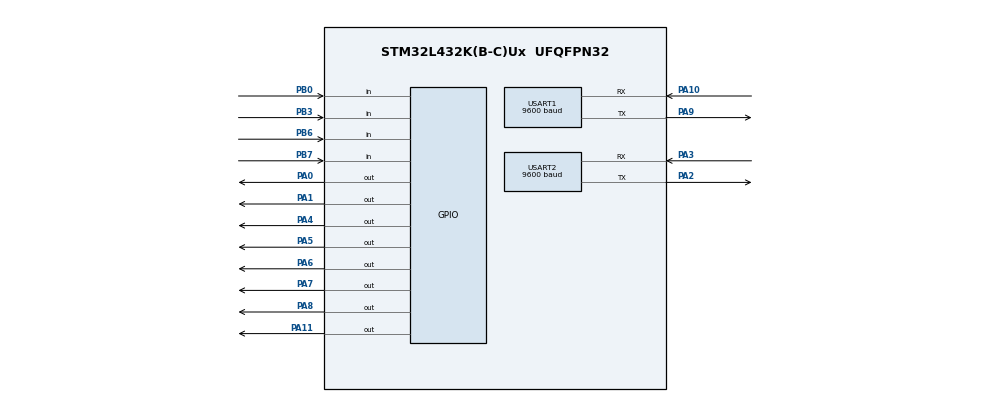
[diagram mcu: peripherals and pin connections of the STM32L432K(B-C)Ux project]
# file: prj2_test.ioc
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Mcu.Family=STM32L4
Mcu.Name=STM32L432K(B-C)Ux
Mcu.Package=UFQFPN32
NVIC.PriorityGroup=NVIC_PRIORITYGROUP_4
NVIC.USART1_IRQn=true\:0\:0\:false\:false\:true\:true
PA0.Signal=GPIO_Output
PA1.Signal=GPIO_Output
PA10.Mode=Asynchronous
PA10.Signal=USART1_RX
PA11.Signal=GPIO_Output
PA13\ (JTMS-SWDIO).Mode=Serial_Wire
PA13\ (JTMS-SWDIO).Signal=SYS_JTMS-SWDIO
PA14\ (JTCK-SWCLK).Mode=Serial_Wire
PA14\ (JTCK-SWCLK).Signal=SYS_JTCK-SWCLK
PA2.Mode=Asynchronous
PA2.Signal=USART2_TX
PA3.Mode=Asynchronous
PA3.Signal=USART2_RX
PA4.Signal=GPIO_Output
PA5.Signal=GPIO_Output
PA6.Signal=GPIO_Output
PA7.Signal=GPIO_Output
PA8.Signal=GPIO_Output
PA9.Mode=Asynchronous
PA9.Signal=USART1_TX
PB0.Signal=GPIO_Input
PB3\ (JTDO-TRACESWO).Signal=GPIO_Input
PB6.Signal=GPIO_Input
PB7.Signal=GPIO_Input
PC14-OSC32_IN\ (PC14).Mode=LSE-External-Oscillator
PC14-OSC32_IN\ (PC14).Signal=RCC_OSC32_IN
PC15-OSC32_OUT\ (PC15).Mode=LSE-External-Oscillator
PC15-OSC32_OUT\ (PC15).Signal=RCC_OSC32_OUT
ProjectManager.HeapSize=0x200
ProjectManager.StackSize=0x400
ProjectManager.TargetToolchain=MDK-ARM V5
RCC.HSE_VALUE=8000000
RCC.HSI48_VALUE=48000000
RCC.HSI_VALUE=16000000
RCC.MSI_VALUE=4000000
RCC.VCOOutputFreq_Value=32000000
USART1.BaudRate=9600
USART1.VirtualMode-Asynchronous=VM_ASYNC
USART2.BaudRate=9600
USART2.VirtualMode-Asynchronous=VM_ASYNC
board=custom

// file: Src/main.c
/* USER CODE BEGIN Header */
/**
  ******************************************************************************
  * @file           : main.c
  * @brief          : Main program body
  ******************************************************************************
  ** This notice applies to any and all portions of this file
  * that are not between comment pairs USER CODE BEGIN and
  * USER CODE END. Other portions of this file, whether
  * inserted by the user or by software development tools
  * are owned by their respective copyright owners.
  *
  * COPYRIGHT(c) 2021 STMicroelectronics
  *
  * Redistribution and use in source and binary forms, with or without modification,
  * are permitted provided that the following conditions are met:
  *   1. Redistributions of source code must retain the above copyright notice,
  *      this list of conditions and the following disclaimer.
  *   2. Redistributions in binary form must reproduce the above copyright notice,
  *      this list of conditions and the following disclaimer in the documentation
  *      and/or other materials provided with the distribution.
  *   3. Neither the name of STMicroelectronics nor the names of its contributors
  *      may be used to endorse or promote products derived from this software
  *      without specific prior written permission.
  *
  * THIS SOFTWARE IS PROVIDED BY THE COPYRIGHT HOLDERS AND CONTRIBUTORS "AS IS"
  * AND ANY EXPRESS OR IMPLIED WARRANTIES, INCLUDING, BUT NOT LIMITED TO, THE
  * IMPLIED WARRANTIES OF MERCHANTABILITY AND FITNESS FOR A PARTICULAR PURPOSE ARE
  * DISCLAIMED. IN NO EVENT SHALL THE COPYRIGHT HOLDER OR CONTRIBUTORS BE LIABLE
  * FOR ANY DIRECT, INDIRECT, INCIDENTAL, SPECIAL, EXEMPLARY, OR CONSEQUENTIAL
  * DAMAGES (INCLUDING, BUT NOT LIMITED TO, PROCUREMENT OF SUBSTITUTE GOODS OR
  * SERVICES; LOSS OF USE, DATA, OR PROFITS; OR BUSINESS INTERRUPTION) HOWEVER
  * CAUSED AND ON ANY THEORY OF LIABILITY, WHETHER IN CONTRACT, STRICT LIABILITY,
  * OR TORT (INCLUDING NEGLIGENCE OR OTHERWISE) ARISING IN ANY WAY OUT OF THE USE
  * OF THIS SOFTWARE, EVEN IF ADVISED OF THE POSSIBILITY OF SUCH DAMAGE.
  *
  ******************************************************************************
  */
/* USER CODE END Header */

#include "main.h"

/* USER CODE BEGIN Includes */
#include "MY_Keypad4x4.h"
#include "lcd16x2.h"
#include <stdbool.h>
/* USER CODE END Includes */

UART_HandleTypeDef huart1;
UART_HandleTypeDef huart2;

/* USER CODE BEGIN PV */
uint8_t enter_threshold_msg[26] = {'E', 'n', 't', 'e', 'r', ' ', '#', 'L', 'E', 'D', 's', ' ', 't' , 'h', 'e', 'n', ' ', '#', 'P', 'e', 'o', 'p', 'l', 'e','\n', '\r'};
uint8_t enter_limit_msg[15] = {'E', 'n', 't', 'e', 'r', ' ', '#', 'P', 'e', 'o', 'p', 'l', 'e', '\n', '\r'};
uint8_t done_msg[17] = {'U', 's', 'e', 'r', ' ', 'I', 'n', 'p', 'u', 't', ' ', 'd', 'o' , 'n', 'e', '\n', '\r'};
uint8_t newline[2] = {'\n', '\r'};
uint8_t threshold;
/* USER CODE END PV */

void SystemClock_Config(void);
static void MX_GPIO_Init(void);
static void MX_USART1_UART_Init(void);
static void MX_USART2_UART_Init(void);

/* USER CODE BEGIN 0 */
bool mySwitches[16];
/* USER CODE END 0 */

int main(void)
{
  /* USER CODE BEGIN 1 */
	Keypad_WiresTypeDef myKeypadStruct;
  /* USER CODE END 1 */

  /* MCU Configuration--------------------------------------------------------*/

  /* Reset of all peripherals, Initializes the Flash interface and the Systick. */
  HAL_Init();

  /* Configure the system clock */
  SystemClock_Config();

  /* Initialize all configured peripherals */
  MX_GPIO_Init();
  MX_USART1_UART_Init();
  MX_USART2_UART_Init();
  /* USER CODE BEGIN 2 */

	myKeypadStruct.IN0_Port = GPIOB;
	myKeypadStruct.IN1_Port = GPIOB;
	myKeypadStruct.IN2_Port = GPIOB;
	myKeypadStruct.IN3_Port = GPIOB;

	myKeypadStruct.OUT0_Port = GPIOA;
	myKeypadStruct.OUT1_Port = GPIOA;
	myKeypadStruct.OUT2_Port = GPIOA;
	myKeypadStruct.OUT3_Port = GPIOA;

	myKeypadStruct.IN0pin = GPIO_PIN_3;
	myKeypadStruct.IN1pin = GPIO_PIN_0;
	myKeypadStruct.IN2pin = GPIO_PIN_6;
	myKeypadStruct.IN3pin = GPIO_PIN_7;

	myKeypadStruct.OUT0pin = GPIO_PIN_5;
	myKeypadStruct.OUT1pin = GPIO_PIN_6;
	myKeypadStruct.OUT2pin = GPIO_PIN_7;
	myKeypadStruct.OUT3pin = GPIO_PIN_4;

	Keypad4x4_Init(&myKeypadStruct);

	int bulbsInputted = 0;
	int limitInputted = 0;
	int inputCount = 0;

	lcd16x2_init_4bits(GPIOB, GPIO_PIN_4, GPIO_PIN_5,
	GPIOA, GPIO_PIN_8, GPIO_PIN_11, GPIO_PIN_0, GPIO_PIN_1);

	HAL_UART_Transmit(&huart2, enter_threshold_msg, sizeof(enter_threshold_msg), HAL_MAX_DELAY);
  /* USER CODE END 2 */

  /* Infinite loop */
  while (1)
  {

    /* USER CODE BEGIN 3 */

//		if (inputCount == 1) {
//			HAL_UART_Transmit(&huart2, newline, sizeof(newline), HAL_MAX_DELAY);
//			HAL_UART_Transmit(&huart2, enter_limit_msg, sizeof(enter_limit_msg), HAL_MAX_DELAY);
////			HAL_Delay(3000);
//		} else
		if (inputCount == 3) {
			HAL_UART_Transmit(&huart2, newline, sizeof(newline), HAL_MAX_DELAY);
			HAL_UART_Transmit(&huart2, done_msg, sizeof(done_msg), HAL_MAX_DELAY);
			HAL_UART_Transmit(&huart2, newline, sizeof(newline), HAL_MAX_DELAY);
			HAL_Delay(3000);
		}
		// stop receiving over keypad!

		lcd16x2_printf("Pressed Key: ");
		lcd16x2_setCursor(2,1);

		int i=0;
		for (i=0; i<16; i++) {
			if (mySwitches[i]) {
				switch (i) {
					case 0: threshold = '1';
//					HAL_UART_Transmit(&huart1, &threshold, sizeof(threshold), HAL_MAX_DELAY);
					HAL_UART_Transmit(&huart2, &threshold, sizeof(threshold), HAL_MAX_DELAY);
					lcd16x2_printf("1");
					inputCount = inputCount + 1;
					break;
					case 1: threshold = '2';
//					HAL_UART_Transmit(&huart1, &threshold, sizeof(threshold), HAL_MAX_DELAY);
					HAL_UART_Transmit(&huart2, &threshold, sizeof(threshold), HAL_MAX_DELAY);
					lcd16x2_printf("2");
					inputCount = inputCount + 1;
					break;
					case 2: threshold = '3';
//					HAL_UART_Transmit(&huart1, &threshold, sizeof(threshold), HAL_MAX_DELAY);
					HAL_UART_Transmit(&huart2, &threshold, sizeof(threshold), HAL_MAX_DELAY);
					lcd16x2_printf("3");
					inputCount = inputCount + 1;
					break;
					case 3: threshold = 'A';
//					HAL_UART_Transmit(&huart1, &threshold, sizeof(threshold), HAL_MAX_DELAY);
					HAL_UART_Transmit(&huart2, &threshold, sizeof(threshold), HAL_MAX_DELAY);
					lcd16x2_printf("A");
					inputCount = inputCount + 1;
					break;
					case 4: threshold = '4';
//					HAL_UART_Transmit(&huart1, &threshold, sizeof(threshold), HAL_MAX_DELAY);
					HAL_UART_Transmit(&huart2, &threshold, sizeof(threshold), HAL_MAX_DELAY);
					lcd16x2_printf("4");
					inputCount = inputCount + 1;
					break;
					case 5: threshold = '5';
//					HAL_UART_Transmit(&huart1, &threshold, sizeof(threshold), HAL_MAX_DELAY);
					HAL_UART_Transmit(&huart2, &threshold, sizeof(threshold), HAL_MAX_DELAY);
					lcd16x2_printf("5");
					inputCount = inputCount + 1;
					break;
					case 6: threshold = '6';
//					HAL_UART_Transmit(&huart1, &threshold, sizeof(threshold), HAL_MAX_DELAY);
					HAL_UART_Transmit(&huart2, &threshold, sizeof(threshold), HAL_MAX_DELAY);
					lcd16x2_printf("6");
					inputCount = inputCount + 1;
					break;
					case 7: threshold = 'B';
//					HAL_UART_Transmit(&huart1, &threshold, sizeof(threshold), HAL_MAX_DELAY);
					HAL_UART_Transmit(&huart2, &threshold, sizeof(threshold), HAL_MAX_DELAY);
					lcd16x2_printf("B");
					inputCount = inputCount + 1;
					break;
					case 8: threshold = '7';
					break;
					case 9: threshold = '8';
					break;
					case 10: threshold = '9';
//					HAL_UART_Transmit(&huart1, &threshold, sizeof(threshold), HAL_MAX_DELAY);
					HAL_UART_Transmit(&huart2, &threshold, sizeof(threshold), HAL_MAX_DELAY);
					lcd16x2_printf("9");
					inputCount = inputCount + 1;
					break;
					case 11: threshold = 'C';
//					HAL_UART_Transmit(&huart1, &threshold, sizeof(threshold), HAL_MAX_DELAY);
					HAL_UART_Transmit(&huart2, &threshold, sizeof(threshold), HAL_MAX_DELAY);
					lcd16x2_printf("C");
					inputCount = inputCount + 1;
					break;
					case 12: threshold = NULL; // '*'
					break;
					case 13: threshold = '0';
					break;
					case 14: threshold = '#';
//					HAL_UART_Transmit(&huart1, &threshold, sizeof(threshold), HAL_MAX_DELAY);
					HAL_UART_Transmit(&huart2, &threshold, sizeof(threshold), HAL_MAX_DELAY);
					lcd16x2_printf("#");
					inputCount = inputCount + 1;
					break;
					default: threshold = 'D';
//					HAL_UART_Transmit(&huart1, &threshold, sizeof(threshold), HAL_MAX_DELAY);
					HAL_UART_Transmit(&huart2, &threshold, sizeof(threshold), HAL_MAX_DELAY);
					lcd16x2_printf("D");
					inputCount = inputCount + 1;
				}
			}
		}

		//HAL_UART_Transmit(&huart1, &threshold, sizeof(threshold), HAL_MAX_DELAY);
		Keypad4x4_ReadKeypad(mySwitches);
		HAL_Delay(100);
		lcd16x2_clear();

//		uint8_t buffer;
//		HAL_UART_Transmit(&huart2, &buffer, sizeof(buffer), HAL_MAX_DELAY);
  }
  /* USER CODE END 3 */
}

void SystemClock_Config(void)
{
  RCC_OscInitTypeDef RCC_OscInitStruct = {0};
  RCC_ClkInitTypeDef RCC_ClkInitStruct = {0};
  RCC_PeriphCLKInitTypeDef PeriphClkInit = {0};

  /**Configure LSE Drive Capability
  */
  HAL_PWR_EnableBkUpAccess();
  __HAL_RCC_LSEDRIVE_CONFIG(RCC_LSEDRIVE_LOW);
  /**Initializes the CPU, AHB and APB busses clocks
  */
  RCC_OscInitStruct.OscillatorType = RCC_OSCILLATORTYPE_LSE|RCC_OSCILLATORTYPE_MSI;
  RCC_OscInitStruct.LSEState = RCC_LSE_ON;
  RCC_OscInitStruct.MSIState = RCC_MSI_ON;
  RCC_OscInitStruct.MSICalibrationValue = 0;
  RCC_OscInitStruct.MSIClockRange = RCC_MSIRANGE_6;
  RCC_OscInitStruct.PLL.PLLState = RCC_PLL_NONE;
  if (HAL_RCC_OscConfig(&RCC_OscInitStruct) != HAL_OK)
  {
    Error_Handler();
  }
  /**Initializes the CPU, AHB and APB busses clocks
  */
  RCC_ClkInitStruct.ClockType = RCC_CLOCKTYPE_HCLK|RCC_CLOCKTYPE_SYSCLK
                              |RCC_CLOCKTYPE_PCLK1|RCC_CLOCKTYPE_PCLK2;
  RCC_ClkInitStruct.SYSCLKSource = RCC_SYSCLKSOURCE_MSI;
  RCC_ClkInitStruct.AHBCLKDivider = RCC_SYSCLK_DIV1;
  RCC_ClkInitStruct.APB1CLKDivider = RCC_HCLK_DIV1;
  RCC_ClkInitStruct.APB2CLKDivider = RCC_HCLK_DIV1;

  if (HAL_RCC_ClockConfig(&RCC_ClkInitStruct, FLASH_LATENCY_0) != HAL_OK)
  {
    Error_Handler();
  }
  PeriphClkInit.PeriphClockSelection = RCC_PERIPHCLK_USART1|RCC_PERIPHCLK_USART2;
  PeriphClkInit.Usart1ClockSelection = RCC_USART1CLKSOURCE_PCLK2;
  PeriphClkInit.Usart2ClockSelection = RCC_USART2CLKSOURCE_PCLK1;
  if (HAL_RCCEx_PeriphCLKConfig(&PeriphClkInit) != HAL_OK)
  {
    Error_Handler();
  }
  /**Configure the main internal regulator output voltage
  */
  if (HAL_PWREx_ControlVoltageScaling(PWR_REGULATOR_VOLTAGE_SCALE1) != HAL_OK)
  {
    Error_Handler();
  }
  /**Enable MSI Auto calibration
  */
  HAL_RCCEx_EnableMSIPLLMode();
}

static void MX_USART1_UART_Init(void)
{

  huart1.Instance = USART1;
  huart1.Init.BaudRate = 9600;
  huart1.Init.WordLength = UART_WORDLENGTH_8B;
  huart1.Init.StopBits = UART_STOPBITS_1;
  huart1.Init.Parity = UART_PARITY_NONE;
  huart1.Init.Mode = UART_MODE_TX_RX;
  huart1.Init.HwFlowCtl = UART_HWCONTROL_NONE;
  huart1.Init.OverSampling = UART_OVERSAMPLING_16;
  huart1.Init.OneBitSampling = UART_ONE_BIT_SAMPLE_DISABLE;
  huart1.AdvancedInit.AdvFeatureInit = UART_ADVFEATURE_NO_INIT;
  if (HAL_UART_Init(&huart1) != HAL_OK)
  {
    Error_Handler();
  }

}

static void MX_USART2_UART_Init(void)
{

  huart2.Instance = USART2;
  huart2.Init.BaudRate = 9600;
  huart2.Init.WordLength = UART_WORDLENGTH_8B;
  huart2.Init.StopBits = UART_STOPBITS_1;
  huart2.Init.Parity = UART_PARITY_NONE;
  huart2.Init.Mode = UART_MODE_TX_RX;
  huart2.Init.HwFlowCtl = UART_HWCONTROL_NONE;
  huart2.Init.OverSampling = UART_OVERSAMPLING_16;
  huart2.Init.OneBitSampling = UART_ONE_BIT_SAMPLE_DISABLE;
  huart2.AdvancedInit.AdvFeatureInit = UART_ADVFEATURE_NO_INIT;
  if (HAL_UART_Init(&huart2) != HAL_OK)
  {
    Error_Handler();
  }

}

static void MX_GPIO_Init(void)
{
  GPIO_InitTypeDef GPIO_InitStruct = {0};

  /* GPIO Ports Clock Enable */
  __HAL_RCC_GPIOC_CLK_ENABLE();
  __HAL_RCC_GPIOA_CLK_ENABLE();
  __HAL_RCC_GPIOB_CLK_ENABLE();

  /*Configure GPIO pin Output Level */
  HAL_GPIO_WritePin(GPIOA, GPIO_PIN_0|GPIO_PIN_1|GPIO_PIN_4|GPIO_PIN_5
                          |GPIO_PIN_6|GPIO_PIN_7|GPIO_PIN_8|GPIO_PIN_11, GPIO_PIN_RESET);

  /*Configure GPIO pins : PA0 PA1 PA4 PA5
                           PA6 PA7 PA8 PA11 */
  GPIO_InitStruct.Pin = GPIO_PIN_0|GPIO_PIN_1|GPIO_PIN_4|GPIO_PIN_5
                          |GPIO_PIN_6|GPIO_PIN_7|GPIO_PIN_8|GPIO_PIN_11;
  GPIO_InitStruct.Mode = GPIO_MODE_OUTPUT_PP;
  GPIO_InitStruct.Pull = GPIO_NOPULL;
  GPIO_InitStruct.Speed = GPIO_SPEED_FREQ_LOW;
  HAL_GPIO_Init(GPIOA, &GPIO_InitStruct);

  /*Configure GPIO pins : PB0 PB3 PB6 PB7 */
  GPIO_InitStruct.Pin = GPIO_PIN_0|GPIO_PIN_3|GPIO_PIN_6|GPIO_PIN_7;
  GPIO_InitStruct.Mode = GPIO_MODE_INPUT;
  GPIO_InitStruct.Pull = GPIO_NOPULL;
  HAL_GPIO_Init(GPIOB, &GPIO_InitStruct);

}

void Error_Handler(void)
{
}

/************************ (C) COPYRIGHT STMicroelectronics *****END OF FILE****/
